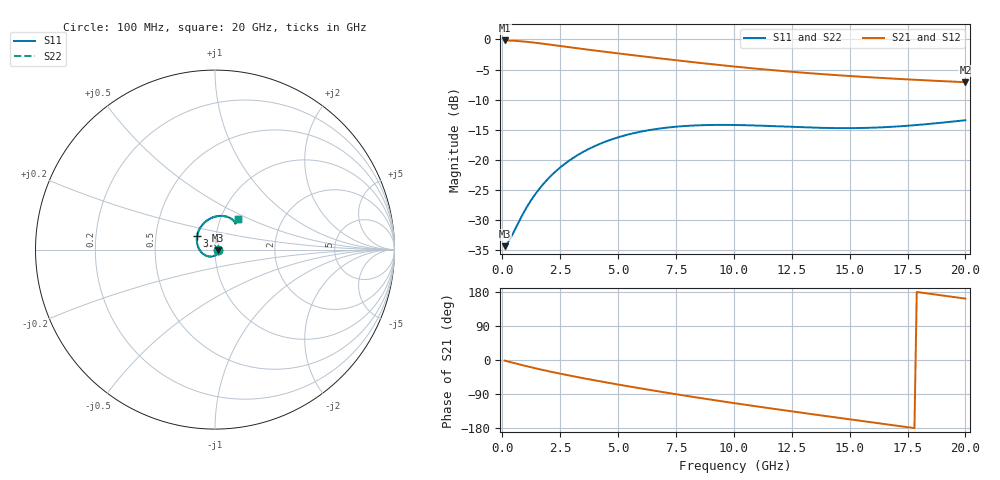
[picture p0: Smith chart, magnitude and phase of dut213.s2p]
! Created with skrf 1.9.0 (http://scikit-rf.org).
# GHz S RI R 50.0
!freq ReS11 ImS11 ReS21 ImS21 ReS12 ImS12 ReS22 ImS22
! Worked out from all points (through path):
!   200 points, 100 MHz to 20 GHz, reference 50 ohm
!   highest |S21| = -0.17 dB at 100 MHz (marker M1); lowest = -7.1 dB at 20 GHz (marker M2)
!   group delay of S21, straight-line fit = 26.3 ps
!   lowest |S11| = -34.4 dB at 100 MHz (marker M3), VSWR 1.04, Z = 51.9 - j0.484 ohm
!   |S11| at or under -10 dB: start of sweep to end of sweep
!   |S22| runs from -34.4 to -13.4 dB; largest |S21 - S12| = 2.5e-15
!   S11 on the Smith chart (normalised r, x): 100 MHz: 1.04, -0.01; 3.8 GHz: 0.81, +0.12; 20 GHz: 1.21, +0.43
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0.1  0.0186 -0.00466  0.9804 -0.0276  0.9804 -0.0276  0.0186 -0.00466
0.3  0.016 -0.0142  0.9753 -0.0819  0.9753 -0.0819  0.016 -0.0142
0.8  -0.00102 -0.0329  0.9425 -0.2107  0.9425 -0.2107  -0.00102 -0.0329
1.2  -0.0221 -0.039  0.9 -0.3024  0.9 -0.3024  -0.0221 -0.039
1.7  -0.0506 -0.0335  0.8337 -0.4002  0.8337 -0.4002  -0.0506 -0.0335
2.1  -0.0708 -0.02  0.7746 -0.4653  0.7746 -0.4653  -0.0708 -0.02
2.5  -0.0863 -0.000915  0.7129 -0.5198  0.7129 -0.5198  -0.0863 -0.000915
3  -0.098 0.0276  0.6345 -0.5753  0.6345 -0.5753  -0.098 0.0276
3.5  -0.1012 0.0577  0.5559 -0.619  0.5559 -0.619  -0.1012 0.0577
3.8  -0.0995 0.0754  0.5091 -0.6401  0.5091 -0.6401  -0.0995 0.0754
4.5  -0.0869 0.1131  0.4016 -0.6765  0.4016 -0.6765  -0.0869 0.1131
5.2  -0.0658 0.1434  0.2977 -0.6966  0.2977 -0.6966  -0.0658 0.1434
6  -0.0362 0.1678  0.1849 -0.7021  0.1849 -0.7021  -0.0362 0.1678
6.8  -0.00525 0.182  0.0803 -0.6917  0.0803 -0.6917  -0.00525 0.182
8.4  0.0493 0.1868  -0.0999 -0.6345  -0.0999 -0.6345  0.0493 0.1868
10.1  0.0879 0.1736  -0.2468 -0.5396  -0.2468 -0.5396  0.0879 0.1736
11.7  0.1064 0.158  -0.3467 -0.4336  -0.3467 -0.4336  0.1064 0.158
13.4  0.1131 0.1466  -0.4176 -0.3132  -0.4176 -0.3132  0.1131 0.1466
15  0.1137 0.1437  -0.4556 -0.1979  -0.4556 -0.1979  0.1137 0.1437
16.7  0.1141 0.1487  -0.4683 -0.0772  -0.4683 -0.0772  0.1141 0.1487
18.3  0.1179 0.1586  -0.4562 0.0309  -0.4562 0.0309  0.1179 0.1586
20  0.1275 0.1709  -0.4199 0.136  -0.4199 0.136  0.1275 0.1709
